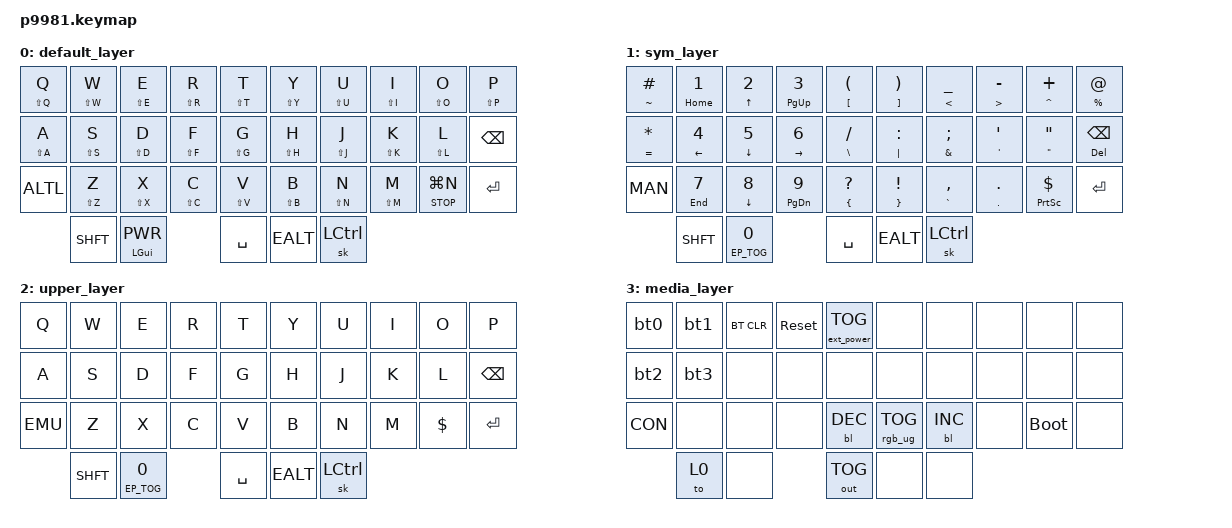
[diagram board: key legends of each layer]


#include <behaviors.dtsi>
#include <dt-bindings/zmk/keys.h>
#include <dt-bindings/zmk/bt.h>
#include <dt-bindings/zmk/outputs.h>
#include <dt-bindings/zmk/mouse.h>
#include <dt-bindings/zmk/backlight.h>
#include <dt-bindings/zmk/ext_power.h>
#include <dt-bindings/zmk/rgb.h>

#define DEFAULT 0
#define SYM 1
#define UPPER 2
#define MEDIA 3

// Standard Behavior Configurations:

&mt {
    flavor = "tap-preferred";
    tapping-term-ms = <200>;
    };

&sk {
    release-after-ms = <2500>;
    };

&sl {
    release-after-ms = <2500>;
    };

/ {

//Behaviors Start Here:

    behaviors {

// Tap Dance Behaviors

        td0: tap_dance_0 {
            compatible = "zmk,behavior-tap-dance";
            #binding-cells = <0>;
            tapping-term-ms = <300>;
            bindings = <&mkp LCLK>, <&bt BT_CLR>;
        };




        SHFT: tap_dance_shft {
            compatible = "zmk,behavior-tap-dance";
            #binding-cells = <0>;
            tapping-term-ms = <300>;
            bindings = <&sk LSHFT>, <&kp CLCK>;
            // Tap RGT sticky shift, Double tap RGT caps lock
        };

        EALT: tap_dance_ealt {
            compatible = "zmk,behavior-tap-dance";
            #binding-cells = <0>;
            tapping-term-ms = <300>;
            bindings = <&sk RALT>, <&kp RALT>;
        };

        ALTL: tap_dance_1 {
            compatible = "zmk,behavior-tap-dance";
            #binding-cells = <0>;
            tapping-term-ms = <300>;
            bindings = <&sl SYM>, <&to SYM>;
        };

        MAN: tap_dance_4 {
            compatible = "zmk,behavior-tap-dance";
            #binding-cells = <0>;
            tapping-term-ms = <250>;
            bindings = <&to 0>, <&to UPPER>;
        };

        EMU: tap_dance_7 {
            compatible = "zmk,behavior-tap-dance";
            #binding-cells = <0>;
            tapping-term-ms = <250>;
            bindings = <&to 0>, <&to MEDIA>;
        };

        CON: tap_dance_8 {
            compatible = "zmk,behavior-tap-dance";
            #binding-cells = <0>;
            tapping-term-ms = <250>;
            bindings = <&to 0>, <&to 0>;
        };


// Macro Behaviors

    tap: tap {
        compatible = "zmk,behavior-macro-one-param";
        #binding-cells = <1>;
        bindings = <&macro_param_1to1 &kp MACRO_PLACEHOLDER>;
        };

    glo: globe_pseudo_mod {
        compatible = "zmk,behavior-macro-one-param";
        #binding-cells = <1>;
        bindings
            = <&macro_press &kp GLOBE>
            , <&macro_param_1to1>
            , <&macro_tap &kp MACRO_PLACEHOLDER>
            , <&macro_release &kp GLOBE>;
        };

        bt0: bt0 {
            compatible = "zmk,behavior-macro";
            #binding-cells = <0>;
            bindings = <&bt BT_SEL 0 &bt BT_DISC 1 &bt BT_DISC 2 &bt BT_DISC 3 &bt BT_DISC 4>;
            label = "BT0";
        };

        bt1: bt1 {
            compatible = "zmk,behavior-macro";
            #binding-cells = <0>;
            bindings = <&bt BT_SEL 1 &bt BT_DISC 0 &bt BT_DISC 2 &bt BT_DISC 3 &bt BT_DISC 4>;
            label = "BT1";
        };

        bt2: bt2 {
            compatible = "zmk,behavior-macro";
            #binding-cells = <0>;
            bindings = <&bt BT_SEL 2 &bt BT_DISC 0 &bt BT_DISC 1 &bt BT_DISC 3 &bt BT_DISC 4>;
            label = "BT2";
        };

        bt3: bt3 {
            compatible = "zmk,behavior-macro";
            #binding-cells = <0>;
            bindings = <&bt BT_SEL 3 &bt BT_DISC 0 &bt BT_DISC 1 &bt BT_DISC 2 &bt BT_DISC 4>;
            label = "BT3";
        };

// Hold Tap Behaviors

    KPM: behavior_KPM {
            compatible = "zmk,behavior-hold-tap";
            label = "KPM";
            #binding-cells = <2>;
            flavor = "tap-preferred";
            tapping-term-ms = <400>;
            bindings = <&msc>, <&kp>;
        };

        hm: homerow_mods {
            compatible = "zmk,behavior-hold-tap";
            #binding-cells = <2>;
            tapping-term-ms = <500>;
            bindings = <&out>, <&kp>;
        };

        hm2: homerow_mods_2 {
            compatible = "zmk,behavior-hold-tap";
            #binding-cells = <2>;
            tapping-term-ms = <500>;
            bindings = <&ext_power>, <&kp>;
        };

    mtt: mod_tap_tap {
        compatible = "zmk,behavior-hold-tap";
        #binding-cells = <2>;
        flavor = "tap-preferred";
        tapping-term-ms = <200>;
        quick-tap-ms = <125>;
        require-prior-idle-ms = <125>;
        bindings = <&tap>, <&tap>;
        };

    msk: mod_Stick_Pre {
          compatible = "zmk,behavior-hold-tap";
          #binding-cells = <2>;
          flavor = "tap-preferred";
          tapping-term-ms = <200>;
          quick-tap-ms = <125>;
          require-prior-idle-ms = <125>;
          bindings = <&sk>, <&kp>;
        };

    alt_to: behavior_alt_to {
            compatible = "zmk,behavior-hold-tap";
            label = "alt_to";
            #binding-cells = <2>;
            flavor = "tap-preferred";
            tapping-term-ms = <300>;
            bindings = <&kp>, <&to>;
        };

    glb: mod_tap_glo {
          compatible = "zmk,behavior-hold-tap";
          #binding-cells = <2>;
          flavor = "tap-preferred";
          tapping-term-ms = <200>;
          quick-tap-ms = <125>;
          require-prior-idle-ms = <125>;
          bindings = <&kp>, <&glo>;
        };

        mou: mod_mouse {
            compatible = "zmk,behavior-hold-tap";
            #binding-cells = <2>;
            flavor = "tap-preferred";
            tapping-term-ms = <200>;
            quick-tap-ms = <125>;
            require-prior-idle-ms = <125>;
            bindings = <&mkp>, <&mkp>;
        };


//End Behaviors here
    };

    keymap {
        compatible = "zmk,keymap";

        default_layer {
            bindings = <

        

    &mtt LS(Q) Q    &mtt LS(W) W      &mtt LS(E) E    &mtt LS(R) R     &mtt LS(T) T    &mtt LS(Y) Y    &mtt LS(U) U    &mtt LS(I) I    &mtt LS(O) O        &mtt LS(P) P
    &mtt LS(A) A    &mtt LS(S) S      &mtt LS(D) D    &mtt LS(F) F     &mtt LS(G) G    &mtt LS(H) H    &mtt LS(J) J    &mtt LS(K) K    &mtt LS(L) L        &kp BSPC
    &ALTL           &mtt LS(Z) Z      &mtt LS(X) X    &mtt LS(C) C     &mtt LS(V) V    &mtt LS(B) B    &mtt LS(N) N    &mtt LS(M) M    &mtt K_STOP LG(N)   &kp ENTER

    		         &SHFT				 &mtt LGUI K_PWR	      &kp SPACE			&EALT		 &sk LCTRL

            >;
        };


        sym_layer {

            bindings = <

    

    &mtt TILDE HASH     &mtt HOME N1       &mtt UP N2         &mtt PG_UP N3      &mtt LBKT LPAR    &mtt RBKT RPAR     &mtt LT UNDER      &mtt GT MINUS      &mtt CARET PLUS    &mtt PERCENT AT
    &mtt EQUAL STAR     &mtt LEFT N4       &mtt DOWN N5       &mtt RIGHT N6      &mtt BSLH SLASH   &mtt PIPE COLON    &mtt AMPS SEMI     &mtt APOS APOS     &mtt DQT DQT       &mtt DEL BSPC
    &MAN                &mtt END N7        &mtt DOWN N8       &mtt PG_DN N9      &mtt LBRC QMARK   &mtt RBRC EXCL     &mtt GRAVE COMMA   &mtt DOT DOT       &mtt PSCRN DLLR    &kp ENTER

    		         &SHFT				 &hm2 EP_TOG N0	      &kp SPACE			&EALT		 &sk LCTRL

            >;
        };

        upper_layer {

            bindings = <

    &kp Q		&kp W		&kp E		&kp R			&kp T			&kp Y		&kp U		&kp I		&kp O		&kp P
    &kp A		&kp S		&kp D		&kp F			&kp G			&kp H		&kp J		&kp K		&kp L		&kp BSPC
    &EMU		&kp Z		&kp X		&kp C			&kp V			&kp B		&kp N		&kp M		&kp DLLR	&kp ENTER

    		&SHFT				 &hm2 EP_TOG N0			&kp SPACE				&EALT				&sk LCTRL

            >;
        };

        media_layer {

            bindings = <

    

    &bt0            &bt1               &bt BT_CLR         &sys_reset         &ext_power EP_TOG  &none              &none              &none              &none              &none
    &bt2            &bt3               &none              &none              &none              &none              &none              &none              &none              &none
    &CON            &none              &none              &none              &bl BL_DEC         &rgb_ug RGB_TOG    &bl BL_INC         &none              &bootloader        &none

    		         &to 0				 &none	              &out OUT_TOG			&none		 &none

            >;
        };
    };
};
